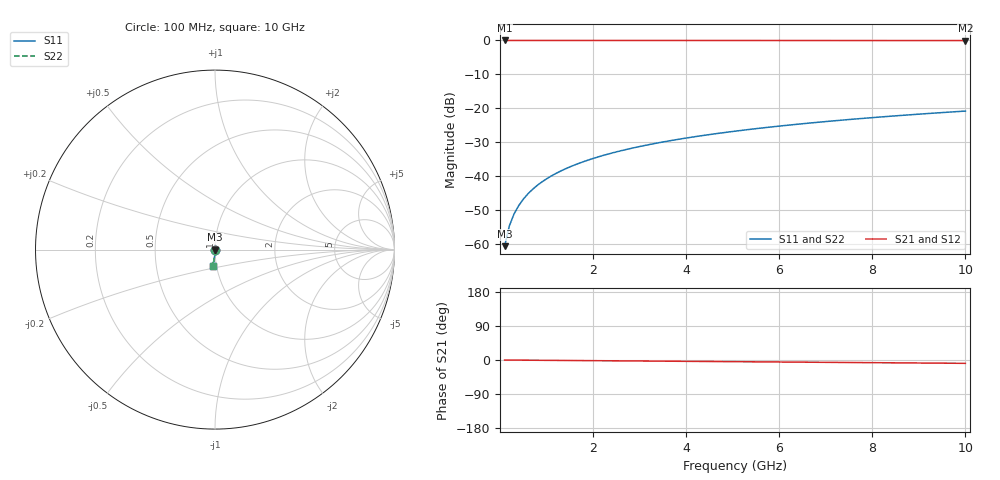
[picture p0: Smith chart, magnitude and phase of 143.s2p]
# Hz S RI R 50.00
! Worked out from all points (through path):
!   100 points, 100 MHz to 10 GHz, reference 50 ohm
!   highest |S21| = 0.00 dB at 100 MHz (marker M1); lowest = 0.0 dB at 10 GHz (marker M2)
!   group delay of S21, straight-line fit = 2.44 ps
!   lowest |S11| = -60.8 dB at 100 MHz (marker M3), VSWR 1.00, Z = 50 - j0.0903 ohm
!   |S11| at or under -10 dB: start of sweep to end of sweep
!   |S22| runs from -60.8 to -20.9 dB; largest |S21 - S12| = 0
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1e8  0.000155 -0.000903  0.9998 -0.00153  0.9998 -0.00153  0.000155 -0.000903
2e8  0.000151 -0.00181  0.9998 -0.00305  0.9998 -0.00305  0.000151 -0.00181
3e8  0.000144 -0.00271  0.9998 -0.00458  0.9998 -0.00458  0.000144 -0.00271
4e8  0.000134 -0.00361  0.9998 -0.0061  0.9998 -0.0061  0.000134 -0.00361
5e8  0.000121 -0.00452  0.9998 -0.00763  0.9998 -0.00763  0.000121 -0.00452
6e8  0.000105 -0.00542  0.9998 -0.00916  0.9998 -0.00916  0.000105 -0.00542
7e8  8.62e-05 -0.00632  0.9998 -0.0107  0.9998 -0.0107  8.62e-05 -0.00632
8e8  6.48e-05 -0.00723  0.9997 -0.0122  0.9997 -0.0122  6.48e-05 -0.00723
9e8  4.06e-05 -0.00813  0.9997 -0.0137  0.9997 -0.0137  4.06e-05 -0.00813
1.1e9  -1.62e-05 -0.00994  0.9996 -0.0168  0.9996 -0.0168  -1.62e-05 -0.00994
1.4e9  -0.000122 -0.0126  0.9995 -0.0214  0.9995 -0.0214  -0.000122 -0.0126
1.8e9  -0.000302 -0.0163  0.9993 -0.0275  0.9993 -0.0275  -0.000302 -0.0163
2.1e9  -0.000467 -0.019  0.9991 -0.0321  0.9991 -0.0321  -0.000467 -0.019
2.5e9  -0.000725 -0.0226  0.9988 -0.0382  0.9988 -0.0382  -0.000725 -0.0226
2.9e9  -0.00103 -0.0262  0.9985 -0.0443  0.9985 -0.0443  -0.00103 -0.0262
3.4e9  -0.00147 -0.0307  0.998 -0.0519  0.998 -0.0519  -0.00147 -0.0307
4.2e9  -0.00232 -0.0379  0.997 -0.0641  0.997 -0.0641  -0.00232 -0.0379
5.1e9  -0.00349 -0.046  0.9957 -0.0779  0.9957 -0.0779  -0.00349 -0.046
5.9e9  -0.00472 -0.0532  0.9943 -0.0901  0.9943 -0.0901  -0.00472 -0.0532
6.7e9  -0.00612 -0.0604  0.9926 -0.1023  0.9926 -0.1023  -0.00612 -0.0604
8.4e9  -0.0097 -0.0755  0.9885 -0.1281  0.9885 -0.1281  -0.0097 -0.0755
1e10  -0.0138 -0.0895  0.9839 -0.1523  0.9839 -0.1523  -0.0138 -0.0895
